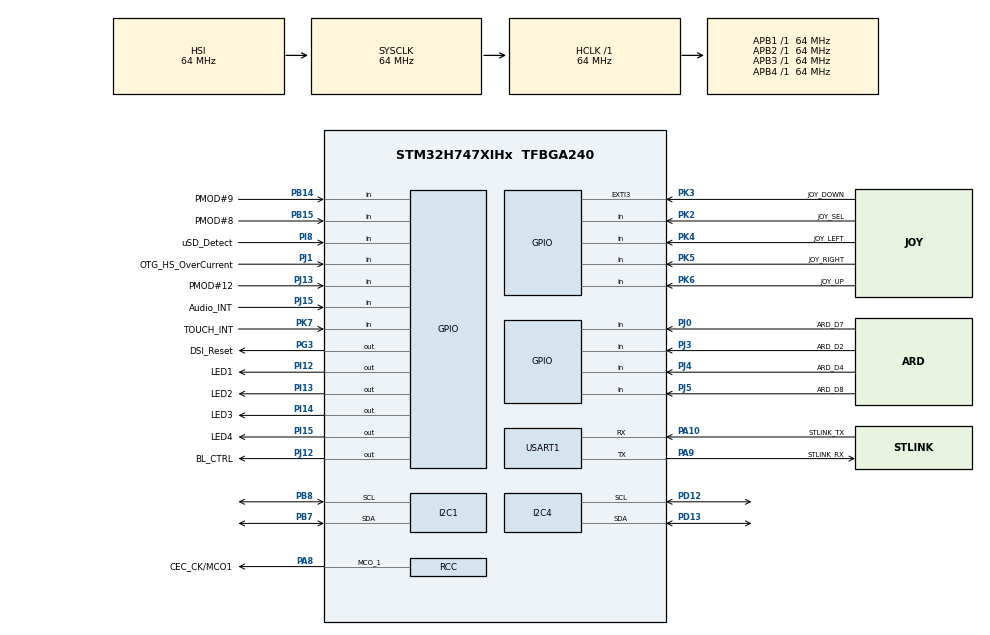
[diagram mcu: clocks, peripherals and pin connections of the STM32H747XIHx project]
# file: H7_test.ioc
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CortexM4.IPs=BDMA,DMA,FATFS_M4\:I,FREERTOS_M4\:I,IWDG2\:I,MDMA,NVIC2\:I,RCC,USB_DEVICE_M4\:I,USB_HOST_M4\:I,WWDG2\:I,DEBUG,PDM2PCM_M4\:I,PWR,RESMGR_UTILITY,SYS_M4\:I,CORTEX_M4\:I,OPENAMP_M4\:I,VREFBUF,USART1
CortexM4.Pins=PI15
CortexM7.IPs=BDMA\:I,DMA\:I,FATFS_M7\:I,FREERTOS_M7\:I,IWDG1\:I,MDMA\:I,NVIC1\:I,RCC\:I,USB_DEVICE_M7\:I,USB_HOST_M7\:I,WWDG1\:I,USART1\:I,CORTEX_M7\:I,DEBUG\:I,PDM2PCM_M7\:I,PWR\:I,RESMGR_UTILITY\:I,SYS\:I,OPENAMP_M7\:I,VREFBUF\:I,I2C1\:I,CRC\:I,TIM1\:I,I2C4\:I
CortexM7.Pins=PK3,PI12,PI13,PI14
DSI_CKN.Signal=DSIHOST_CKN
DSI_CKP.Signal=DSIHOST_CKP
DSI_D0N.Signal=DSIHOST_D0N
DSI_D0P.Signal=DSIHOST_D0P
DSI_D1N.Signal=DSIHOST_D1N
DSI_D1P.Signal=DSIHOST_D1P
Dma.Request0=USART1_RX
Dma.Request1=USART1_TX
Dma.USART1_RX.0.Direction=DMA_PERIPH_TO_MEMORY
Dma.USART1_RX.0.EventEnable=DISABLE
Dma.USART1_RX.0.FIFOMode=DMA_FIFOMODE_DISABLE
Dma.USART1_RX.0.Instance=DMA1_Stream0
Dma.USART1_RX.0.MemDataAlignment=DMA_MDATAALIGN_BYTE
Dma.USART1_RX.0.MemInc=DMA_MINC_ENABLE
Dma.USART1_RX.0.Mode=DMA_CIRCULAR
Dma.USART1_RX.0.PeriphDataAlignment=DMA_PDATAALIGN_BYTE
Dma.USART1_RX.0.PeriphInc=DMA_PINC_DISABLE
Dma.USART1_RX.0.Polarity=HAL_DMAMUX_REQ_GEN_RISING
Dma.USART1_RX.0.Priority=DMA_PRIORITY_LOW
Dma.USART1_RX.0.RequestNumber=1
Dma.USART1_RX.0.SignalID=NONE
Dma.USART1_RX.0.SyncEnable=DISABLE
Dma.USART1_RX.0.SyncPolarity=HAL_DMAMUX_SYNC_NO_EVENT
Dma.USART1_RX.0.SyncRequestNumber=1
Dma.USART1_RX.0.SyncSignalID=NONE
Dma.USART1_TX.1.Direction=DMA_MEMORY_TO_PERIPH
Dma.USART1_TX.1.EventEnable=DISABLE
Dma.USART1_TX.1.FIFOMode=DMA_FIFOMODE_DISABLE
Dma.USART1_TX.1.Instance=DMA1_Stream1
Dma.USART1_TX.1.MemDataAlignment=DMA_MDATAALIGN_BYTE
Dma.USART1_TX.1.MemInc=DMA_MINC_ENABLE
Dma.USART1_TX.1.Mode=DMA_CIRCULAR
Dma.USART1_TX.1.PeriphDataAlignment=DMA_PDATAALIGN_BYTE
Dma.USART1_TX.1.PeriphInc=DMA_PINC_DISABLE
Dma.USART1_TX.1.Polarity=HAL_DMAMUX_REQ_GEN_RISING
Dma.USART1_TX.1.Priority=DMA_PRIORITY_LOW
Dma.USART1_TX.1.RequestNumber=1
Dma.USART1_TX.1.SignalID=NONE
Dma.USART1_TX.1.SyncEnable=DISABLE
Dma.USART1_TX.1.SyncPolarity=HAL_DMAMUX_SYNC_NO_EVENT
Dma.USART1_TX.1.SyncRequestNumber=1
Dma.USART1_TX.1.SyncSignalID=NONE
FREERTOS_M7.BinarySemaphores01=KeyPress_Sema_FromISR,Dynamic,NULL;Key_Sema_AfterShake,Dynamic,NULL;KeyRelease_Sema_FromISR,Dynamic,NULL
FREERTOS_M7.Events01=key_pk3,Dynamic,NULL
FREERTOS_M7.Queues01=DataQueue,16,uint8_t,0,Dynamic,NULL,NULL
FREERTOS_M7.Tasks01=defaultTask,24,128,StartDefaultTask,Default,NULL,Dynamic,NULL,NULL;KeyMonitorTask,40,128,KeyMonitorTask_Function,Default,NULL,Dynamic,NULL,NULL;KeyState,40,128,KeyState_Function,Default,NULL,Dynamic,NULL,NULL
FREERTOS_M7.configUSE_NEWLIB_REENTRANT=1
I2C4.CustomTiming=Disabled
I2C4.DualAddressMode=I2C_DUALADDRESS_DISABLE
I2C4.GeneralCallMode=I2C_GENERALCALL_DISABLE
I2C4.NoStretchMode=I2C_NOSTRETCH_DISABLE
Mcu.Family=STM32H7
Mcu.Name=STM32H747XIHx
Mcu.Package=TFBGA240
NVIC1.DMA1_Stream0_IRQn=true\:5\:0\:false\:false\:true\:true\:false\:true
NVIC1.DMA1_Stream1_IRQn=true\:5\:0\:false\:false\:true\:true\:false\:true
NVIC1.EXTI3_IRQn=true\:5\:0\:false\:false\:true\:true\:true\:true
NVIC1.HSEM1_IRQn=true\:5\:0\:false\:false\:true\:true\:true\:true
NVIC1.PriorityGroup=NVIC_PRIORITYGROUP_4
NVIC1.TIM1_UP_IRQn=true\:15\:0\:false\:false\:true\:false\:false\:true
NVIC1.TimeBase=TIM1_UP_IRQn
NVIC1.TimeBaseIP=TIM1
NVIC1.USART1_IRQn=true\:5\:0\:false\:false\:true\:true\:true\:true
NVIC2.HSEM2_IRQn=true\:0\:0\:false\:false\:true\:true\:true
NVIC2.PriorityGroup=NVIC_PRIORITYGROUP_4
PA0_C.GPIO_Label=ARD_A2
PA0_C.PinAttribute=CortexM4
PA0_C.Signal=ADCx_INP0
PA1.GPIO_Label=ETH_REF_CLK
PA1.PinAttribute=CortexM4
PA1.Signal=ETH_REF_CLK
PA10.GPIO_Label=STLINK_TX
PA10.Mode=Asynchronous
PA10.PinAttribute=CortexM7
PA10.Signal=USART1_RX
PA11.GPIO_Label=PMOD\#1
PA11.PinAttribute=CortexM7
PA11.Signal=SPI2_NSS
PA12.GPIO_Label=SPI2_SCK
PA12.PinAttribute=CortexM7
PA12.Signal=SPI2_SCK
PA13\ (JTMS/SWDIO).Mode=Serial_Wire
PA13\ (JTMS/SWDIO).PinAttribute=CortexM7
PA13\ (JTMS/SWDIO).Signal=DEBUG_JTMS-SWDIO
PA14\ (JTCK/SWCLK).Mode=Serial_Wire
PA14\ (JTCK/SWCLK).PinAttribute=CortexM7
PA14\ (JTCK/SWCLK).Signal=DEBUG_JTCK-SWCLK
PA1_C.GPIO_Label=ARD_A3
PA1_C.PinAttribute=CortexM4
PA1_C.Signal=ADCx_INP1
PA2.GPIO_Label=ETH_MDIO
PA2.PinAttribute=CortexM4
PA2.Signal=ETH_MDIO
PA3.GPIO_Label=ULPI_D0
PA3.PinAttribute=CortexM4
PA3.Signal=USB_OTG_HS_ULPI_D0
PA5.GPIO_Label=ULPI_CK
PA5.PinAttribute=CortexM4
PA5.Signal=USB_OTG_HS_ULPI_CK
PA7.GPIO_Label=ETH_CRS_DV
PA7.PinAttribute=CortexM4
PA7.Signal=ETH_CRS_DV
PA8.GPIO_Label=CEC_CK/MCO1
PA8.Mode=Clock-out-1
PA8.PinAttribute=CortexM7
PA8.Signal=RCC_MCO_1
PA9.GPIO_Label=STLINK_RX
PA9.Mode=Asynchronous
PA9.PinAttribute=CortexM7
PA9.Signal=USART1_TX
PB0.GPIO_Label=ULPI_D1
PB0.PinAttribute=CortexM4
PB0.Signal=USB_OTG_HS_ULPI_D1
PB1.GPIO_Label=ULPI_D2
PB1.PinAttribute=CortexM4
PB1.Signal=USB_OTG_HS_ULPI_D2
PB10.GPIO_Label=ULPI_D3
PB10.PinAttribute=CortexM4
PB10.Signal=USB_OTG_HS_ULPI_D3
PB11.GPIO_Label=ULPI_D4
PB11.PinAttribute=CortexM4
PB11.Signal=USB_OTG_HS_ULPI_D4
PB12.GPIO_Label=ULPI_D5
PB12.PinAttribute=CortexM4
PB12.Signal=USB_OTG_HS_ULPI_D5
PB13.GPIO_Label=ULPI_D6
PB13.PinAttribute=CortexM4
PB13.Signal=USB_OTG_HS_ULPI_D6
PB14.GPIO_Label=PMOD\#9
PB14.PinAttribute=Free
PB14.Signal=GPIO_Input
PB15.GPIO_Label=PMOD\#8
PB15.PinAttribute=Free
PB15.Signal=GPIO_Input
PB2.GPIO_Label=QSPI_CLK
PB2.PinAttribute=CortexM4
PB2.Signal=QUADSPI_CLK
PB5.GPIO_Label=ULPI_D7
PB5.PinAttribute=CortexM4
PB5.Signal=USB_OTG_HS_ULPI_D7
PB6.GPIO_Label=HDMI_CEC
PB6.PinAttribute=CortexM4
PB6.Signal=CEC
PB7.Mode=I2C
PB7.PinAttribute=CortexM7
PB7.Signal=I2C1_SDA
PB8.Mode=I2C
PB8.PinAttribute=CortexM7
PB8.Signal=I2C1_SCL
PC0.GPIO_Label=ULPI_STP
PC0.PinAttribute=CortexM4
PC0.Signal=USB_OTG_HS_ULPI_STP
PC1.GPIO_Label=ETH_MDC/SAI4_D1
PC1.PinAttribute=CortexM4
PC1.Signal=ETH_MDC
PC10.GPIO_Label=SDIO1_D2
PC10.PinAttribute=CortexM4
PC10.Signal=SDMMC1_D2
PC12.GPIO_Label=SDIO1_CK
PC12.PinAttribute=CortexM4
PC12.Signal=SDMMC1_CK
PC13.GPIO_Label=B2 [Wakeup Button]
PC13.PinAttribute=CortexM4
PC13.Signal=RTC_TAMP1
PC14-OSC32_IN\ (OSC32_IN).GPIO_Label=OSC32_IN
PC14-OSC32_IN\ (OSC32_IN).Mode=LSE-External-Oscillator
PC14-OSC32_IN\ (OSC32_IN).PinAttribute=CortexM7
PC14-OSC32_IN\ (OSC32_IN).Signal=RCC_OSC32_IN
PC15-OSC32_OUT\ (OSC32_OUT).GPIO_Label=OSC32_OUT
PC15-OSC32_OUT\ (OSC32_OUT).Mode=LSE-External-Oscillator
PC15-OSC32_OUT\ (OSC32_OUT).PinAttribute=CortexM7
PC15-OSC32_OUT\ (OSC32_OUT).Signal=RCC_OSC32_OUT
PC2.GPIO_Label=PMOD\#3
PC2.PinAttribute=CortexM7
PC2.Signal=SPI2_MISO
PC2_C.GPIO_Label=ARD_A4
PC2_C.PinAttribute=CortexM4
PC2_C.Signal=ADC3_INP0
PC3.GPIO_Label=PMOD\#2
PC3.PinAttribute=CortexM7
PC3.Signal=SPI2_MOSI
PC3_C.GPIO_Label=ARD_A5
PC3_C.PinAttribute=CortexM4
PC3_C.Signal=ADC3_INP1
PC4.GPIO_Label=ETH_RXD0
PC4.PinAttribute=CortexM4
PC4.Signal=ETH_RXD0
PC5.GPIO_Label=ETH_RXD1
PC5.PinAttribute=CortexM4
PC5.Signal=ETH_RXD1
PC8.GPIO_Label=SDIO1_D0
PC8.PinAttribute=CortexM4
PC8.Signal=SDMMC1_D0
PD0.GPIO_Label=FMC_D2
PD0.PinAttribute=CortexM4
PD0.Signal=FMC_D2_DA2
PD1.GPIO_Label=FMC_D3
PD1.PinAttribute=CortexM4
PD1.Signal=FMC_D3_DA3
PD10.GPIO_Label=FMC_D15
PD10.PinAttribute=CortexM4
PD10.Signal=FMC_D15_DA15
PD11.GPIO_Label=QSPI_BK1_IO0
PD11.PinAttribute=CortexM4
PD11.Signal=QUADSPI_BK1_IO0
PD12.Mode=I2C
PD12.PinAttribute=CortexM7
PD12.Signal=I2C4_SCL
PD13.Mode=I2C
PD13.PinAttribute=CortexM7
PD13.Signal=I2C4_SDA
PD14.GPIO_Label=FMC_D0
PD14.PinAttribute=CortexM4
PD14.Signal=FMC_D0_DA0
PD15.GPIO_Label=FMC_D1
PD15.PinAttribute=CortexM4
PD15.Signal=FMC_D1_DA1
PD2.GPIO_Label=SDIO1_CMD
PD2.PinAttribute=CortexM4
PD2.Signal=SDMMC1_CMD
PD7.GPIO_Label=SPDIF_RX0
PD7.PinAttribute=CortexM4
PD7.Signal=SPDIFRX1_IN0
PD8.GPIO_Label=FMC_D13
PD8.PinAttribute=CortexM4
PD8.Signal=FMC_D13_DA13
PD9.GPIO_Label=FMC_D14
PD9.PinAttribute=CortexM4
PD9.Signal=FMC_D14_DA14
PE0.GPIO_Label=FMC_NBL0
PE0.PinAttribute=CortexM4
PE0.Signal=FMC_NBL0
PE1.GPIO_Label=FMC_NBL1
PE1.PinAttribute=CortexM4
PE1.Signal=FMC_NBL1
PE10.GPIO_Label=FMC_D7
PE10.PinAttribute=CortexM4
PE10.Signal=FMC_D7_DA7
PE11.GPIO_Label=FMC_D8
PE11.PinAttribute=CortexM4
PE11.Signal=FMC_D8_DA8
PE12.GPIO_Label=FMC_D9
PE12.PinAttribute=CortexM4
PE12.Signal=FMC_D9_DA9
PE13.GPIO_Label=FMC_D10
PE13.PinAttribute=CortexM4
PE13.Signal=FMC_D10_DA10
PE14.GPIO_Label=FMC_D11
PE14.PinAttribute=CortexM4
PE14.Signal=FMC_D11_DA11
PE15.GPIO_Label=FMC_D12
PE15.PinAttribute=CortexM4
PE15.Signal=FMC_D12_DA12
PE3.GPIO_Label=SAI1_SD_B
PE3.PinAttribute=CortexM4
PE3.Signal=SAI1_SD_B
PE4.GPIO_Label=SAI1_FS_A
PE4.PinAttribute=CortexM4
PE4.Signal=SAI1_FS_A
PE5.GPIO_Label=SAI1_SCK_A
PE5.PinAttribute=CortexM4
PE5.Signal=SAI1_SCK_A
PE6.GPIO_Label=SAI1_SD_A
PE6.PinAttribute=CortexM4
PE6.Signal=SAI1_SD_A
PE7.GPIO_Label=FMC_D4
PE7.PinAttribute=CortexM4
PE7.Signal=FMC_D4_DA4
PE8.GPIO_Label=FMC_D5
PE8.PinAttribute=CortexM4
PE8.Signal=FMC_D5_DA5
PE9.GPIO_Label=FMC_D6
PE9.PinAttribute=CortexM4
PE9.Signal=FMC_D6_DA6
PF0.GPIO_Label=FMC_A0
PF0.PinAttribute=CortexM4
PF0.Signal=FMC_A0
PF1.GPIO_Label=FMC_A1
PF1.PinAttribute=CortexM4
PF1.Signal=FMC_A1
PF10.GPIO_Label=ARD_A1
PF10.PinAttribute=CortexM4
PF10.Signal=ADC3_INP6
PF11.GPIO_Label=FMC_SDRAS
PF11.PinAttribute=CortexM4
PF11.Signal=FMC_SDNRAS
PF12.GPIO_Label=FMC_A6
PF12.PinAttribute=CortexM4
PF12.Signal=FMC_A6
PF13.GPIO_Label=FMC_A7
PF13.PinAttribute=CortexM4
PF13.Signal=FMC_A7
PF14.GPIO_Label=FMC_A8
PF14.PinAttribute=CortexM4
PF14.Signal=FMC_A8
PF15.GPIO_Label=FMC_A9
PF15.PinAttribute=CortexM4
PF15.Signal=FMC_A9
PF2.GPIO_Label=FMC_A2
PF2.PinAttribute=CortexM4
PF2.Signal=FMC_A2
PF3.GPIO_Label=FMC_A3
PF3.PinAttribute=CortexM4
PF3.Signal=FMC_A3
PF4.GPIO_Label=FMC_A4
PF4.PinAttribute=CortexM4
PF4.Signal=FMC_A4
PF5.GPIO_Label=FMC_A5
PF5.PinAttribute=CortexM4
PF5.Signal=FMC_A5
PF6.GPIO_Label=QSPI_BK1_IO3
PF6.PinAttribute=CortexM4
PF6.Signal=QUADSPI_BK1_IO3
PF7.GPIO_Label=QSPI_BK1_IO2
PF7.PinAttribute=CortexM4
PF7.Signal=QUADSPI_BK1_IO2
PF8.GPIO_Label=PMOD\#14/ARD_D3
PF8.PinAttribute=CortexM4
PF8.Signal=S_TIM13_CH1
PF9.GPIO_Label=QSPI_BK1_IO1
PF9.PinAttribute=CortexM4
PF9.Signal=QUADSPI_BK1_IO1
PG0.GPIO_Label=FMC_A10
PG0.PinAttribute=CortexM4
PG0.Signal=FMC_A10
PG1.GPIO_Label=FMC_A11
PG1.PinAttribute=CortexM4
PG1.Signal=FMC_A11
PG11.GPIO_Label=ETH_TX_EN
PG11.PinAttribute=CortexM4
PG11.Signal=ETH_TX_EN
PG12.GPIO_Label=ETH_TXD1
PG12.PinAttribute=CortexM4
PG12.Signal=ETH_TXD1
PG13.GPIO_Label=ETH_TXD0
PG13.PinAttribute=CortexM4
PG13.Signal=ETH_TXD0
PG14.GPIO_Label=QSPI_BK2_IO3
PG14.PinAttribute=CortexM4
PG14.Signal=QUADSPI_BK2_IO3
PG15.GPIO_Label=FMC_SDCAS
PG15.PinAttribute=CortexM4
PG15.Signal=FMC_SDNCAS
PG2.GPIO_Label=FMC_A12
PG2.PinAttribute=CortexM4
PG2.Signal=FMC_A12
PG3.GPIO_Label=DSI_Reset
PG3.PinAttribute=Free
PG3.Signal=GPIO_Output
PG4.GPIO_Label=FMC_BA0
PG4.PinAttribute=CortexM4
PG4.Signal=FMC_A14_BA0
PG6.GPIO_Label=QSPI_BK1_NCS
PG6.PinAttribute=CortexM4
PG6.Signal=QUADSPI_BK1_NCS
PG7.GPIO_Label=SAI1_MCLK_A
PG7.PinAttribute=CortexM4
PG7.Signal=SAI1_MCLK_A
PG8.GPIO_Label=FMC_SDCLK
PG8.PinAttribute=CortexM4
PG8.Signal=FMC_SDCLK
PG9.GPIO_Label=QSPI_BK2_IO2
PG9.PinAttribute=CortexM4
PG9.Signal=QUADSPI_BK2_IO2
PH0-OSC_IN\ (PH0).GPIO_Label=OSC_IN
PH0-OSC_IN\ (PH0).Mode=HSE-External-Oscillator
PH0-OSC_IN\ (PH0).PinAttribute=CortexM7
PH0-OSC_IN\ (PH0).Signal=RCC_OSC_IN
PH1-OSC_OUT\ (PH1).GPIO_Label=OSC_OUT
PH1-OSC_OUT\ (PH1).Mode=HSE-External-Oscillator
PH1-OSC_OUT\ (PH1).PinAttribute=CortexM7
PH1-OSC_OUT\ (PH1).Signal=RCC_OSC_OUT
PH10.GPIO_Label=FMC_D18
PH10.PinAttribute=CortexM4
PH10.Signal=FMC_D18
PH11.GPIO_Label=FMC_D19
PH11.PinAttribute=CortexM4
PH11.Signal=FMC_D19
PH12.GPIO_Label=FMC_D20
PH12.PinAttribute=CortexM4
PH12.Signal=FMC_D20
PH13.GPIO_Label=FMC_D21
PH13.PinAttribute=CortexM4
PH13.Signal=FMC_D21
PH14.GPIO_Label=FMC_D22
PH14.PinAttribute=CortexM4
PH14.Signal=FMC_D22
PH15.GPIO_Label=FMC_D23
PH15.PinAttribute=CortexM4
PH15.Signal=FMC_D23
PH2.GPIO_Label=QSPI_BK2_IO0
PH2.PinAttribute=CortexM4
PH2.Signal=QUADSPI_BK2_IO0
PH3.GPIO_Label=QSPI_BK2_IO1
PH3.PinAttribute=CortexM4
PH3.Signal=QUADSPI_BK2_IO1
PH4.GPIO_Label=ULPI_NXT
PH4.PinAttribute=CortexM4
PH4.Signal=USB_OTG_HS_ULPI_NXT
PH5.GPIO_Label=FMC_SDNWE
PH5.PinAttribute=CortexM4
PH5.Signal=FMC_SDNWE
PH6.GPIO_Label=FMC_SDNE1
PH6.PinAttribute=CortexM4
PH6.Signal=FMC_SDNE1
PH7.GPIO_Label=FMC_SDCKE1
PH7.PinAttribute=CortexM4
PH7.Signal=FMC_SDCKE1
PH8.GPIO_Label=FMC_D16
PH8.PinAttribute=CortexM4
PH8.Signal=FMC_D16
PH9.GPIO_Label=FMC_D17
PH9.PinAttribute=CortexM4
PH9.Signal=FMC_D17
PI0.GPIO_Label=FMC_D24
PI0.PinAttribute=CortexM4
PI0.Signal=FMC_D24
PI1.GPIO_Label=FMC_D25
PI1.PinAttribute=CortexM4
PI1.Signal=FMC_D25
PI10.GPIO_Label=FMC_D31
PI10.PinAttribute=CortexM4
PI10.Signal=FMC_D31
PI11.GPIO_Label=ULPI_DIR
PI11.PinAttribute=CortexM4
PI11.Signal=USB_OTG_HS_ULPI_DIR
PI12.GPIO_Label=LED1
PI12.PinAttribute=CortexM7
PI12.Signal=GPIO_Output
PI13.GPIO_Label=LED2
PI13.PinAttribute=CortexM7
PI13.Signal=GPIO_Output
PI14.GPIO_Label=LED3
PI14.PinAttribute=CortexM7
PI14.Signal=GPIO_Output
PI15.GPIO_Label=LED4
PI15.PinAttribute=CortexM4
PI15.Signal=GPIO_Output
PI2.GPIO_Label=FMC_D26
PI2.PinAttribute=CortexM4
PI2.Signal=FMC_D26
PI3.GPIO_Label=FMC_D27
PI3.PinAttribute=CortexM4
PI3.Signal=FMC_D27
PI4.GPIO_Label=FMC_NBL2
PI4.PinAttribute=CortexM4
PI4.Signal=FMC_NBL2
PI5.GPIO_Label=FMC_NBL3
PI5.PinAttribute=CortexM4
PI5.Signal=FMC_NBL3
PI6.GPIO_Label=FMC_D28
PI6.PinAttribute=CortexM4
PI6.Signal=FMC_D28
PI7.GPIO_Label=FMC_D29
PI7.PinAttribute=CortexM4
PI7.Signal=FMC_D29
PI8.GPIO_Label=uSD_Detect
PI8.PinAttribute=Free
PI8.Signal=GPIO_Input
PI9.GPIO_Label=FMC_D30
PI9.PinAttribute=CortexM4
PI9.Signal=FMC_D30
PJ0.GPIO_Label=ARD_D7
PJ0.PinAttribute=Free
PJ0.Signal=GPIO_Input
PJ1.GPIO_Label=OTG_HS_OverCurrent
PJ1.PinAttribute=Free
PJ1.Signal=GPIO_Input
PJ10.GPIO_Label=ARD_D11
PJ10.PinAttribute=CortexM4
PJ10.Signal=SPI5_MOSI
PJ11.GPIO_Label=ARD_D12
PJ11.PinAttribute=CortexM4
PJ11.Signal=SPI5_MISO
PJ12.GPIO_Label=BL_CTRL
PJ12.PinAttribute=Free
PJ12.Signal=GPIO_Output
PJ13.GPIO_Label=PMOD\#12
PJ13.PinAttribute=Free
PJ13.Signal=GPIO_Input
PJ15.GPIO_Label=Audio_INT
PJ15.PinAttribute=Free
PJ15.Signal=GPIO_Input
PJ2.GPIO_Label=DSI_TE
PJ2.Signal=DSIHOST_TE
PJ3.GPIO_Label=ARD_D2
PJ3.PinAttribute=Free
PJ3.Signal=GPIO_Input
PJ4.GPIO_Label=ARD_D4
PJ4.PinAttribute=Free
PJ4.Signal=GPIO_Input
PJ5.GPIO_Label=ARD_D8
PJ5.PinAttribute=Free
PJ5.Signal=GPIO_Input
PJ6.GPIO_Label=ARD_D9
PJ6.PinAttribute=CortexM4
PJ6.Signal=S_TIM8_CH2
PJ7.GPIO_Label=ARD_D6
PJ7.PinAttribute=CortexM4
PJ7.Signal=TIM8_CH2N
PJ8.GPIO_Label=ARD_D1
PJ8.PinAttribute=CortexM4
PJ8.Signal=UART8_TX
PJ9.GPIO_Label=ARD_D0
PJ9.PinAttribute=CortexM4
PJ9.Signal=UART8_RX
PK0.GPIO_Label=ARD_D13
PK0.PinAttribute=CortexM4
PK0.Signal=SPI5_SCK
PK1.GPIO_Label=ARD_D10
PK1.PinAttribute=CortexM4
PK1.Signal=SPI5_NSS
PK2.GPIO_Label=JOY_SEL
PK2.PinAttribute=Free
PK2.Signal=GPIO_Input
PK3.GPIO_Label=JOY_DOWN
PK3.GPIO_ModeDefaultEXTI=GPIO_MODE_IT_RISING_FALLING
PK3.GPIO_PuPd=GPIO_PULLUP
PK3.PinAttribute=CortexM7
PK3.Signal=GPXTI3
PK4.GPIO_Label=JOY_LEFT
PK4.PinAttribute=Free
PK4.Signal=GPIO_Input
PK5.GPIO_Label=JOY_RIGHT
PK5.PinAttribute=Free
PK5.Signal=GPIO_Input
PK6.GPIO_Label=JOY_UP
PK6.PinAttribute=Free
PK6.Signal=GPIO_Input
PK7.GPIO_Label=TOUCH_INT
PK7.PinAttribute=Free
PK7.Signal=GPIO_Input
ProjectManager.HeapSize=M4-0x200,M7-0x1000
ProjectManager.StackSize=M4-0x400,M7-0x1000
ProjectManager.TargetToolchain=STM32CubeIDE
RCC.ADCFreq_Value=75000000
RCC.APB1Freq_Value=64000000
RCC.APB2Freq_Value=64000000
RCC.APB3Freq_Value=64000000
RCC.APB4Freq_Value=64000000
RCC.CortexFreq_Value=64000000
RCC.DIVM1=5
RCC.DIVM2=2
RCC.DIVN1=48
RCC.DIVN2=12
RCC.DIVQ1=5
RCC.HCLKFreq_Value=64000000
RCC.PLL2FRACN=0
RCC.PLL3FRACN=0
RCC.PLLFRACN=0
RCC.PLLSourceVirtual=RCC_PLLSOURCE_HSE
RCC.PWR_Regulator_Voltage_Scale=PWR_REGULATOR_VOLTAGE_SCALE1
RCC.SYSCLKFreq_VALUE=64000000
RCC.SupplySource=PWR_DIRECT_SMPS_SUPPLY
RCC.USBFreq_Value=48000000
SH.ADCx_INP0.0=ADC1_INP0
SH.ADCx_INP1.0=ADC1_INP1
SH.FMC_A0.0=FMC_A0
SH.FMC_A1.0=FMC_A1
SH.FMC_A10.0=FMC_A10
SH.FMC_A11.0=FMC_A11
SH.FMC_A12.0=FMC_A12
SH.FMC_A14_BA0.0=FMC_BA0
SH.FMC_A2.0=FMC_A2
SH.FMC_A3.0=FMC_A3
SH.FMC_A4.0=FMC_A4
SH.FMC_A5.0=FMC_A5
SH.FMC_A6.0=FMC_A6
SH.FMC_A7.0=FMC_A7
SH.FMC_A8.0=FMC_A8
SH.FMC_A9.0=FMC_A9
SH.FMC_D0_DA0.0=FMC_D0
SH.FMC_D10_DA10.0=FMC_D10
SH.FMC_D11_DA11.0=FMC_D11
SH.FMC_D12_DA12.0=FMC_D12
SH.FMC_D13_DA13.0=FMC_D13
SH.FMC_D14_DA14.0=FMC_D14
SH.FMC_D15_DA15.0=FMC_D15
SH.FMC_D16.0=FMC_D16
SH.FMC_D17.0=FMC_D17
SH.FMC_D18.0=FMC_D18
SH.FMC_D19.0=FMC_D19
SH.FMC_D1_DA1.0=FMC_D1
SH.FMC_D20.0=FMC_D20
SH.FMC_D21.0=FMC_D21
SH.FMC_D22.0=FMC_D22
SH.FMC_D23.0=FMC_D23
SH.FMC_D24.0=FMC_D24
SH.FMC_D25.0=FMC_D25
SH.FMC_D26.0=FMC_D26
SH.FMC_D27.0=FMC_D27
SH.FMC_D28.0=FMC_D28
SH.FMC_D29.0=FMC_D29
SH.FMC_D2_DA2.0=FMC_D2
SH.FMC_D30.0=FMC_D30
SH.FMC_D31.0=FMC_D31
SH.FMC_D3_DA3.0=FMC_D3
SH.FMC_D4_DA4.0=FMC_D4
SH.FMC_D5_DA5.0=FMC_D5
SH.FMC_D6_DA6.0=FMC_D6
SH.FMC_D7_DA7.0=FMC_D7
SH.FMC_D8_DA8.0=FMC_D8
SH.FMC_D9_DA9.0=FMC_D9
SH.FMC_NBL0.0=FMC_NBL0
SH.FMC_NBL1.0=FMC_NBL1
SH.FMC_NBL2.0=FMC_NBL2
SH.FMC_NBL3.0=FMC_NBL3
SH.FMC_SDCLK.0=FMC_SDCLK
SH.FMC_SDNCAS.0=FMC_SDNCAS
SH.FMC_SDNRAS.0=FMC_SDNRAS
SH.FMC_SDNWE.0=FMC_SDNWE
SH.S_TIM13_CH1.0=TIM13_CH1
SH.S_TIM8_CH2.0=TIM8_CH2
USART1.VirtualMode-Asynchronous=VM_ASYNC
VP_CRC_VS_CRC.Mode=CRC_Activate
VP_FREERTOS_M7_VS_CMSIS_V2.Mode=CMSIS_V2
VP_SYS_M4_VS_Systick.Mode=SysTick
VP_SYS_VS_tim1.Mode=TIM1
board=STM32H747I-DISCO

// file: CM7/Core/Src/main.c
/* USER CODE BEGIN Header */
/**
  ******************************************************************************
  * @file           : main.c
  * @brief          : Main program body
  ******************************************************************************
  * @attention
  *
  * Copyright (c) 2022 STMicroelectronics.
  * All rights reserved.
  *
  * This software is licensed under terms that can be found in the LICENSE file
  * in the root directory of this software component.
  * If no LICENSE file comes with this software, it is provided AS-IS.
  *
  ******************************************************************************
  */
/* USER CODE END Header */
#include "main.h"
#include "cmsis_os.h"

/* USER CODE BEGIN Includes */
#include "ringbuffer.h"
//#include "key.h"
#include "bh.h"
#include "uart_transmit.h"
//#include "test.h"
#include "mpu6050.h"

//#include <sys/select.h>

/* USER CODE END Includes */

/* USER CODE BEGIN PD */

#ifndef HSEM_ID_0
#define HSEM_ID_0 (0U) /* HW semaphore 0*/
#endif
/* USER CODE END PD */

CRC_HandleTypeDef hcrc;

I2C_HandleTypeDef hi2c1;
I2C_HandleTypeDef hi2c4;

UART_HandleTypeDef huart1;
DMA_HandleTypeDef hdma_usart1_rx;
DMA_HandleTypeDef hdma_usart1_tx;

/* Definitions for defaultTask */
osThreadId_t defaultTaskHandle;
const osThreadAttr_t defaultTask_attributes = {
  .name = "defaultTask",
  .stack_size = 128 * 4,
  .priority = (osPriority_t) osPriorityNormal,
};
/* Definitions for KeyMonitorTask */
osThreadId_t KeyMonitorTaskHandle;
const osThreadAttr_t KeyMonitorTask_attributes = {
  .name = "KeyMonitorTask",
  .stack_size = 128 * 4,
  .priority = (osPriority_t) osPriorityNormal,
};
/* Definitions for KeyState */
osThreadId_t KeyStateHandle;
const osThreadAttr_t KeyState_attributes = {
  .name = "KeyState",
  .stack_size = 128 * 4,
  .priority = (osPriority_t) osPriorityNormal,
};
/* Definitions for DataQueue */
osMessageQueueId_t DataQueueHandle;
const osMessageQueueAttr_t DataQueue_attributes = {
  .name = "DataQueue"
};
/* Definitions for KeyPress_Sema_FromISR */
osSemaphoreId_t KeyPress_Sema_FromISRHandle;
const osSemaphoreAttr_t KeyPress_Sema_FromISR_attributes = {
  .name = "KeyPress_Sema_FromISR"
};
/* Definitions for Key_Sema_AfterShake */
osSemaphoreId_t Key_Sema_AfterShakeHandle;
const osSemaphoreAttr_t Key_Sema_AfterShake_attributes = {
  .name = "Key_Sema_AfterShake"
};
/* Definitions for KeyRelease_Sema_FromISR */
osSemaphoreId_t KeyRelease_Sema_FromISRHandle;
const osSemaphoreAttr_t KeyRelease_Sema_FromISR_attributes = {
  .name = "KeyRelease_Sema_FromISR"
};
/* Definitions for key_pk3 */
osEventFlagsId_t key_pk3Handle;
const osEventFlagsAttr_t key_pk3_attributes = {
  .name = "key_pk3"
};
/* USER CODE BEGIN PV */
//key_t* joy_down_button;
bh1750_t* sensor1;
mpu6050_t* sensor2;
uint8_t rxbuffer=0;
uint8_t txbuffer=0;
uint8_t enter_flag=0;
uint8_t start_flag=0;
ring_buffer_t ring_buffer;
uint8_t rx_buffer[255]={0};
volatile uint8_t rx_len = 0;
volatile uint8_t recv_end_flag = 0;
uint8_t BUFFER_SIZE = 255;
//uint8_t *ptr = (uint8_t*)0x38001000;

/* USER CODE END PV */

void SystemClock_Config(void);
static void MX_GPIO_Init(void);
static void MX_DMA_Init(void);
static void MX_USART1_UART_Init(void);
static void MX_I2C1_Init(void);
static void MX_CRC_Init(void);
static void MX_I2C4_Init(void);
void StartDefaultTask(void *argument);
void KeyMonitorTask_Function(void *argument);
void KeyState_Function(void *argument);

/* USER CODE BEGIN 0 */

#ifdef __GNUC__
#define PUTCHAR_PROTOTYPE int __io_putchar(int ch)
#else
#define PUTCHAR_PROTOTYPE int fputc(int ch, FILE *f)
#endif

PUTCHAR_PROTOTYPE
{
	//HAL_UART_Transmit(&huart1, (uint8_t*)ch,sizeof(uint8_t),0);
	HAL_UART_Transmit(&huart1, (uint8_t *)&ch, 1 ,0xFFFF);
	return ch;
}

int _write(int file, char *ptr, int len)
{
	int DataIdx;
	for (DataIdx = 0; DataIdx < len;DataIdx++)
	{
		__io_putchar(*ptr++);
	}
	return len;
}

typedef struct shared_data{
	uint8_t buffer[10];
}shared_data_t;

volatile struct shared_data * const shared_ptr = (struct shared_data *)0x38001000;
/* USER CODE END 0 */

int main(void)
{
/* USER CODE BEGIN Boot_Mode_Sequence_0 */
  int32_t timeout;
/* USER CODE END Boot_Mode_Sequence_0 */

/* USER CODE BEGIN Boot_Mode_Sequence_1 */
  /* Wait until CPU2 boots and enters in stop mode or timeout*/
  timeout = 0xFFFF;
  while((__HAL_RCC_GET_FLAG(RCC_FLAG_D2CKRDY) != RESET) && (timeout-- > 0));
  if ( timeout < 0 )
  {
  Error_Handler();
  }
/* USER CODE END Boot_Mode_Sequence_1 */
  /* MCU Configuration--------------------------------------------------------*/

  /* Reset of all peripherals, Initializes the Flash interface and the Systick. */
  HAL_Init();

  /* Configure the system clock */
  SystemClock_Config();
/* USER CODE BEGIN Boot_Mode_Sequence_2 */
/* When system initialization is finished, Cortex-M7 will release Cortex-M4 by means of
HSEM notification */
/*HW semaphore Clock enable*/
__HAL_RCC_HSEM_CLK_ENABLE();
/*Take HSEM */
HAL_HSEM_FastTake(HSEM_ID_0);
/*Release HSEM in order to notify the CPU2(CM4)*/
HAL_HSEM_Release(HSEM_ID_0,0);
/* wait until CPU2 wakes up from stop mode */
timeout = 0xFFFF;
while((__HAL_RCC_GET_FLAG(RCC_FLAG_D2CKRDY) == RESET) && (timeout-- > 0));
if ( timeout < 0 )
{
Error_Handler();
}
/* USER CODE END Boot_Mode_Sequence_2 */

  /* Initialize all configured peripherals */
  MX_GPIO_Init();
  MX_DMA_Init();
  MX_USART1_UART_Init();
  MX_I2C1_Init();
  MX_CRC_Init();
  MX_I2C4_Init();
  /* USER CODE BEGIN 2 */
  //__HAL_UART_ENABLE_IT(&huart1,UART_IT_IDLE);
  //HAL_UART_Receive_DMA(&huart1,rx_buffer,255);
  /* USER CODE END 2 */

  /* Init scheduler */
  osKernelInitialize();

  /* Create the semaphores(s) */
  /* creation of KeyPress_Sema_FromISR */
  KeyPress_Sema_FromISRHandle = osSemaphoreNew(1, 1, &KeyPress_Sema_FromISR_attributes);

  /* creation of Key_Sema_AfterShake */
  Key_Sema_AfterShakeHandle = osSemaphoreNew(1, 1, &Key_Sema_AfterShake_attributes);

  /* creation of KeyRelease_Sema_FromISR */
  KeyRelease_Sema_FromISRHandle = osSemaphoreNew(1, 1, &KeyRelease_Sema_FromISR_attributes);

  /* Create the queue(s) */
  /* creation of DataQueue */
  DataQueueHandle = osMessageQueueNew (16, sizeof(uint8_t), &DataQueue_attributes);

  /* Create the thread(s) */
  /* creation of defaultTask */
  //defaultTaskHandle = osThreadNew(StartDefaultTask, NULL, &defaultTask_attributes);

  /* creation of KeyMonitorTask */
  //KeyMonitorTaskHandle = osThreadNew(KeyMonitorTask_Function, NULL, &KeyMonitorTask_attributes);

  /* creation of KeyState */
  KeyStateHandle = osThreadNew(KeyState_Function, NULL, &KeyState_attributes);

  /* Create the event(s) */
  /* creation of key_pk3 */
  key_pk3Handle = osEventFlagsNew(&key_pk3_attributes);

  /* USER CODE BEGIN RTOS_EVENTS */
  //joy_down_button = key_init(0,GPIOK,GPIO_PIN_3, KeyPress_Sema_FromISRHandle, KeyRelease_Sema_FromISRHandle, Key_Sema_AfterShakeHandle, key_pk3Handle, EXTI3_IRQn);
  //sensor1 = bh1750_init(0,&hi2c4);
  //sensor2 = MPU6050_t_INIT(&hi2c4);
  /* add events, ... */
  /* USER CODE END RTOS_EVENTS */

  /* Start scheduler */
  osKernelStart();

  /* We should never get here as control is now taken by the scheduler */
  /* Infinite loop */
  while (1)
  {

  }
}

void SystemClock_Config(void)
{
  RCC_OscInitTypeDef RCC_OscInitStruct = {0};
  RCC_ClkInitTypeDef RCC_ClkInitStruct = {0};

  /** Supply configuration update enable
  */
  HAL_PWREx_ConfigSupply(PWR_DIRECT_SMPS_SUPPLY);
  /** Configure the main internal regulator output voltage
  */
  __HAL_PWR_VOLTAGESCALING_CONFIG(PWR_REGULATOR_VOLTAGE_SCALE1);

  while(!__HAL_PWR_GET_FLAG(PWR_FLAG_VOSRDY)) {}
  /** Initializes the RCC Oscillators according to the specified parameters
  * in the RCC_OscInitTypeDef structure.
  */
  RCC_OscInitStruct.OscillatorType = RCC_OSCILLATORTYPE_HSI;
  RCC_OscInitStruct.HSIState = RCC_HSI_DIV1;
  RCC_OscInitStruct.HSICalibrationValue = RCC_HSICALIBRATION_DEFAULT;
  RCC_OscInitStruct.PLL.PLLState = RCC_PLL_NONE;
  if (HAL_RCC_OscConfig(&RCC_OscInitStruct) != HAL_OK)
  {
    Error_Handler();
  }
  /** Initializes the CPU, AHB and APB buses clocks
  */
  RCC_ClkInitStruct.ClockType = RCC_CLOCKTYPE_HCLK|RCC_CLOCKTYPE_SYSCLK
                              |RCC_CLOCKTYPE_PCLK1|RCC_CLOCKTYPE_PCLK2
                              |RCC_CLOCKTYPE_D3PCLK1|RCC_CLOCKTYPE_D1PCLK1;
  RCC_ClkInitStruct.SYSCLKSource = RCC_SYSCLKSOURCE_HSI;
  RCC_ClkInitStruct.SYSCLKDivider = RCC_SYSCLK_DIV1;
  RCC_ClkInitStruct.AHBCLKDivider = RCC_HCLK_DIV1;
  RCC_ClkInitStruct.APB3CLKDivider = RCC_APB3_DIV1;
  RCC_ClkInitStruct.APB1CLKDivider = RCC_APB1_DIV1;
  RCC_ClkInitStruct.APB2CLKDivider = RCC_APB2_DIV1;
  RCC_ClkInitStruct.APB4CLKDivider = RCC_APB4_DIV1;

  if (HAL_RCC_ClockConfig(&RCC_ClkInitStruct, FLASH_LATENCY_0) != HAL_OK)
  {
    Error_Handler();
  }
  HAL_RCC_MCOConfig(RCC_MCO1, RCC_MCO1SOURCE_HSI, RCC_MCODIV_1);
}

static void MX_CRC_Init(void)
{

  hcrc.Instance = CRC;
  hcrc.Init.DefaultPolynomialUse = DEFAULT_POLYNOMIAL_ENABLE;
  hcrc.Init.DefaultInitValueUse = DEFAULT_INIT_VALUE_ENABLE;
  hcrc.Init.InputDataInversionMode = CRC_INPUTDATA_INVERSION_NONE;
  hcrc.Init.OutputDataInversionMode = CRC_OUTPUTDATA_INVERSION_DISABLE;
  hcrc.InputDataFormat = CRC_INPUTDATA_FORMAT_BYTES;
  if (HAL_CRC_Init(&hcrc) != HAL_OK)
  {
    Error_Handler();
  }

}

static void MX_I2C1_Init(void)
{

  hi2c1.Instance = I2C1;
  hi2c1.Init.Timing = 0x10707DBC;
  hi2c1.Init.OwnAddress1 = 0;
  hi2c1.Init.AddressingMode = I2C_ADDRESSINGMODE_7BIT;
  hi2c1.Init.DualAddressMode = I2C_DUALADDRESS_DISABLE;
  hi2c1.Init.OwnAddress2 = 0;
  hi2c1.Init.OwnAddress2Masks = I2C_OA2_NOMASK;
  hi2c1.Init.GeneralCallMode = I2C_GENERALCALL_DISABLE;
  hi2c1.Init.NoStretchMode = I2C_NOSTRETCH_DISABLE;
  if (HAL_I2C_Init(&hi2c1) != HAL_OK)
  {
    Error_Handler();
  }
  /** Configure Analogue filter
  */
  if (HAL_I2CEx_ConfigAnalogFilter(&hi2c1, I2C_ANALOGFILTER_ENABLE) != HAL_OK)
  {
    Error_Handler();
  }
  /** Configure Digital filter
  */
  if (HAL_I2CEx_ConfigDigitalFilter(&hi2c1, 0) != HAL_OK)
  {
    Error_Handler();
  }

}

static void MX_I2C4_Init(void)
{

  hi2c4.Instance = I2C4;
  hi2c4.Init.Timing = 0x10707DBC;
  hi2c4.Init.OwnAddress1 = 0;
  hi2c4.Init.AddressingMode = I2C_ADDRESSINGMODE_7BIT;
  hi2c4.Init.DualAddressMode = I2C_DUALADDRESS_DISABLE;
  hi2c4.Init.OwnAddress2 = 0;
  hi2c4.Init.OwnAddress2Masks = I2C_OA2_NOMASK;
  hi2c4.Init.GeneralCallMode = I2C_GENERALCALL_DISABLE;
  hi2c4.Init.NoStretchMode = I2C_NOSTRETCH_DISABLE;
  if (HAL_I2C_Init(&hi2c4) != HAL_OK)
  {
    Error_Handler();
  }
  /** Configure Analogue filter
  */
  if (HAL_I2CEx_ConfigAnalogFilter(&hi2c4, I2C_ANALOGFILTER_ENABLE) != HAL_OK)
  {
    Error_Handler();
  }
  /** Configure Digital filter
  */
  if (HAL_I2CEx_ConfigDigitalFilter(&hi2c4, 0) != HAL_OK)
  {
    Error_Handler();
  }

}

static void MX_USART1_UART_Init(void)
{

  huart1.Instance = USART1;
  huart1.Init.BaudRate = 115200;
  huart1.Init.WordLength = UART_WORDLENGTH_8B;
  huart1.Init.StopBits = UART_STOPBITS_1;
  huart1.Init.Parity = UART_PARITY_NONE;
  huart1.Init.Mode = UART_MODE_TX_RX;
  huart1.Init.HwFlowCtl = UART_HWCONTROL_NONE;
  huart1.Init.OverSampling = UART_OVERSAMPLING_16;
  huart1.Init.OneBitSampling = UART_ONE_BIT_SAMPLE_DISABLE;
  huart1.Init.ClockPrescaler = UART_PRESCALER_DIV1;
  huart1.AdvancedInit.AdvFeatureInit = UART_ADVFEATURE_NO_INIT;
  if (HAL_UART_Init(&huart1) != HAL_OK)
  {
    Error_Handler();
  }
  if (HAL_UARTEx_SetTxFifoThreshold(&huart1, UART_TXFIFO_THRESHOLD_1_8) != HAL_OK)
  {
    Error_Handler();
  }
  if (HAL_UARTEx_SetRxFifoThreshold(&huart1, UART_RXFIFO_THRESHOLD_1_8) != HAL_OK)
  {
    Error_Handler();
  }
  if (HAL_UARTEx_DisableFifoMode(&huart1) != HAL_OK)
  {
    Error_Handler();
  }
  /* USER CODE BEGIN USART1_Init 2 */
  //HAL_UART_Receive_IT(&huart1,&rxbuffer,1);
  /* USER CODE END USART1_Init 2 */

}

static void MX_DMA_Init(void)
{

  /* DMA controller clock enable */
  __HAL_RCC_DMA1_CLK_ENABLE();

  /* DMA interrupt init */
  /* DMA1_Stream0_IRQn interrupt configuration */
  HAL_NVIC_SetPriority(DMA1_Stream0_IRQn, 5, 0);
  HAL_NVIC_EnableIRQ(DMA1_Stream0_IRQn);
  /* DMA1_Stream1_IRQn interrupt configuration */
  HAL_NVIC_SetPriority(DMA1_Stream1_IRQn, 5, 0);
  HAL_NVIC_EnableIRQ(DMA1_Stream1_IRQn);

}

static void MX_GPIO_Init(void)
{
  GPIO_InitTypeDef GPIO_InitStruct = {0};

  /* GPIO Ports Clock Enable */
  __HAL_RCC_GPIOA_CLK_ENABLE();
  __HAL_RCC_GPIOC_CLK_ENABLE();
  __HAL_RCC_GPIOB_CLK_ENABLE();
  __HAL_RCC_GPIOK_CLK_ENABLE();
  __HAL_RCC_GPIOI_CLK_ENABLE();
  __HAL_RCC_GPIOH_CLK_ENABLE();
  __HAL_RCC_GPIOD_CLK_ENABLE();

  /*Configure GPIO pin Output Level */
  HAL_GPIO_WritePin(GPIOI, LED1_Pin|LED2_Pin|LED3_Pin, GPIO_PIN_RESET);

  /*Configure GPIO pin : JOY_DOWN_Pin */
  GPIO_InitStruct.Pin = JOY_DOWN_Pin;
  GPIO_InitStruct.Mode = GPIO_MODE_IT_RISING_FALLING;
  GPIO_InitStruct.Pull = GPIO_PULLUP;
  HAL_GPIO_Init(JOY_DOWN_GPIO_Port, &GPIO_InitStruct);

  /*Configure GPIO pin : CEC_CK_MCO1_Pin */
  GPIO_InitStruct.Pin = CEC_CK_MCO1_Pin;
  GPIO_InitStruct.Mode = GPIO_MODE_AF_PP;
  GPIO_InitStruct.Pull = GPIO_NOPULL;
  GPIO_InitStruct.Speed = GPIO_SPEED_FREQ_LOW;
  GPIO_InitStruct.Alternate = GPIO_AF0_MCO;
  HAL_GPIO_Init(CEC_CK_MCO1_GPIO_Port, &GPIO_InitStruct);

  /*Configure GPIO pins : LED1_Pin LED2_Pin LED3_Pin */
  GPIO_InitStruct.Pin = LED1_Pin|LED2_Pin|LED3_Pin;
  GPIO_InitStruct.Mode = GPIO_MODE_OUTPUT_PP;
  GPIO_InitStruct.Pull = GPIO_NOPULL;
  GPIO_InitStruct.Speed = GPIO_SPEED_FREQ_LOW;
  HAL_GPIO_Init(GPIOI, &GPIO_InitStruct);

  /* EXTI interrupt init*/
  HAL_NVIC_SetPriority(EXTI3_IRQn, 5, 0);
  HAL_NVIC_EnableIRQ(EXTI3_IRQn);

}

/* USER CODE BEGIN 4 */
void HAL_UART_RxCpltCallback(UART_HandleTypeDef *UartHandle)
{
	/*
	HAL_UART_Transmit(&huart1,&rxbuffer,sizeof(rxbuffer),0);
	osMessageQueuePut(DataQueueHandle,&rxbuffer,0U,0U);
	ring_buffer_queue(&ring_buffer,rxbuffer);
	if(rxbuffer==0x0A)
	{
		enter_flag = 1;
	}
	while(huart1.RxState!=HAL_UART_STATE_READY);
	HAL_UART_Receive_IT(&huart1,&rxbuffer,1);
	*/
	//HAL_UART_Transmit_DMA(&huart1,rx_buffer,4);
	//HAL_UART_Receive_DMA(&huart1,rx_buffer,4);
}

void HAL_UART_TxCpltCallback(UART_HandleTypeDef *UartHandle)
{

}

/* USER CODE END 4 */

void StartDefaultTask(void *argument)
{
  /* USER CODE BEGIN 5 */
  //HAL_UART_Receive_IT(&huart1,&rxbuffer,1);
  uint8_t flag = 0;
  if(MPU6050_INIT(sensor2)==HAL_OK)
  //if(MPU6050_INIT_DMP()==HAL_OK)
  {
	  //Zero_Offset_Calculates(sensor2);
	  //flag = 1;
  }
  else
  {
	  printf("init error\r\n");
	  printf("=============\r\n");
  }
  /* Infinite loop */
  for(;;)
  {
	if(osSemaphoreAcquire(KeyPress_Sema_FromISRHandle,0)==osOK)
	{
		HAL_GPIO_TogglePin(GPIOI,GPIO_PIN_12);
	}
	if(flag==1)
	{
		//HAL_GPIO_TogglePin(GPIOI,GPIO_PIN_12);
		//if(CAL(sensor2)==HAL_OK)
		if(DMP_Get_Data()==HAL_OK)
		{
			HAL_GPIO_TogglePin(GPIOI,GPIO_PIN_14);
		}
		else
		{
			HAL_GPIO_TogglePin(GPIOI,GPIO_PIN_15);
		}
	}
	//osMessageQueueGet(DataQueueHandle,&txbuffer,0U,osWaitForever);
    osDelay(200);
  }
  /* USER CODE END 5 */
}

void KeyMonitorTask_Function(void *argument)
{
  /* USER CODE BEGIN KeyMonitorTask_Function */
  sensor1->i2c_state=bh1750_startup(sensor1);
  ring_buffer_init(&ring_buffer);
  HAL_UART_Receive_IT(&huart1,&rxbuffer,1);
  /* Infinite loop */
  for(;;)
  {
  if(enter_flag==1)
	{
	start_flag = command_monitor(&huart1,ring_buffer,start_flag);
	ring_buffer_init(&ring_buffer);
	enter_flag=0;
    }
  if(start_flag==1)
	{
	uart_monitor(&huart1, sensor1);
	}
  osDelay(1);
  }
  /* USER CODE END KeyMonitorTask_Function */
}

void KeyState_Function(void *argument)
{
  /* USER CODE BEGIN KeyState_Function */
  //HAL_UART_Receive_DMA(&huart1,rx_buffer,255);
  shared_ptr->buffer[0]=0;
  shared_ptr->buffer[1]=0;
  shared_ptr->buffer[2]=0;
  shared_ptr->buffer[3]=0;
  /* Infinite loop */
  for(;;)
  {
//	if(osSemaphoreAcquire(KeyPress_Sema_FromISRHandle,0)==osOK)
//	{
//		HAL_GPIO_TogglePin(GPIOI,GPIO_PIN_12);
//		HAL_UART_Transmit(&huart1,(uint8_t*)shared_ptr->buffer,4,0xFFFF);
//	}
	//HAL_UART_Receive(&huart1,(uint8_t*)shared_ptr->buffer,4,0xFFFF);
	HAL_UART_Receive(&huart1,(uint8_t*)shared_ptr->buffer,1,0);
	HAL_UART_Transmit(&huart1,(uint8_t*)shared_ptr->buffer,1,0xFFFF);
	HAL_Delay(1000);
  }
  /* USER CODE END KeyState_Function */
}

void HAL_TIM_PeriodElapsedCallback(TIM_HandleTypeDef *htim)
{
  if (htim->Instance == TIM1) {
    HAL_IncTick();
  }
}

void Error_Handler(void)
{
  __disable_irq();
  while (1)
  {
  }
}
